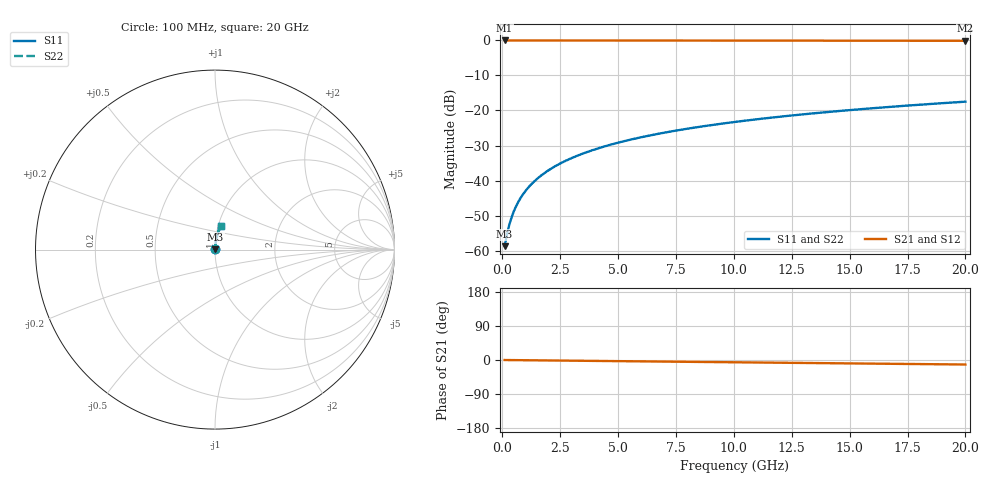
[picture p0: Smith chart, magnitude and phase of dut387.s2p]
! Touchstone file exported from HFSS 2026.1.0
!  File:  C:/ffzhzh/LocalFiles/Ansys_Project_Files/temp_train_TSV_387_1783019950_53980.aedt
!  Generated:  03:21:44 AM Jul  3, 2026
!  Design:  TSV
!  Project:  temp_train_TSV_387_1783019950_53980
! Variables:
!  h_bsmrdl = 2um
!  h_ox = 20um
!  h_rdl = 5um
!  h_sub = 87.68um
!  h_tmrdl = 5um
!  h_tsv = 87.68um
!  h_via = 3um
!  l_bsmrdl = 300um
!  l_sub = 406.72um
!  l_tmrdl = 200um
!  m_sub = 200um
!  pitch = 50.71um
!  r_tsv = 3.36um
!  s_tmrdl = 10um
!  w_bsmrdl = 18um
!  w_sub = 500um
!  w_tmrdl = 12um
!  x_tsv_center1 = 206um
!  x_tsv_center2 = 524um
!  x_tsv_center3 = 736um
!  x_tsv_center4 = 1054um
!  x_tsv_center5 = 1266um
!  x_tsv_center6 = 1584um
# GHz S MA R 50.000000
! Terminal data exported
! Port[1] = TSV1_1_T1
! Port[2] = TSV1_1_T2
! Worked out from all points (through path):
!   200 points, 100 MHz to 20 GHz, reference 50 ohm
!   highest |S21| = -0.01 dB at 100 MHz (marker M1); lowest = -0.1 dB at 20 GHz (marker M2)
!   group delay of S21, straight-line fit = 1.65 ps
!   lowest |S11| = -58.7 dB at 100 MHz (marker M3), VSWR 1.00, Z = 50.1 + j0.0712 ohm
!   |S11| at or under -10 dB: start of sweep to end of sweep
!   |S22| runs from -58.7 to -17.5 dB; largest |S21 - S12| = 3e-15
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0.1  0.001156 38.0  0.9991 -0.1  0.9991 -0.1  0.001156 38.0
! Gamma 0 0 0 0
! Port Impedance 50 0 50 0
0.2  0.001691 57.0  0.9991 -0.1  0.9991 -0.1  0.001691 57.0
0.3  0.002318 66.2  0.9991 -0.2  0.9991 -0.2  0.002318 66.2
0.4  0.002977 71.4  0.9991 -0.2  0.9991 -0.2  0.002977 71.4
0.5  0.00365 74.7  0.999 -0.3  0.999 -0.3  0.00365 74.7
0.6  0.00433 76.9  0.999 -0.4  0.999 -0.4  0.00433 76.9
0.8  0.005703 79.8  0.999 -0.5  0.999 -0.5  0.005703 79.8
1.1  0.007777 82.0  0.999 -0.7  0.999 -0.7  0.007777 82.0
1.5  0.01055 83.5  0.9989 -0.9  0.9989 -0.9  0.01055 83.5
1.8  0.01264 84.1  0.9989 -1.1  0.9989 -1.1  0.01264 84.1
2.1  0.01472 84.5  0.9988 -1.3  0.9988 -1.3  0.01472 84.5
2.7  0.01888 84.8  0.9987 -1.7  0.9987 -1.7  0.01888 84.8
3.5  0.02441 84.9  0.9984 -2.1  0.9984 -2.1  0.02441 84.9
4.2  0.02922 84.7  0.9982 -2.6  0.9982 -2.6  0.02922 84.7
5  0.03469 84.4  0.9979 -3.0  0.9979 -3.0  0.03469 84.4
5.9  0.04081 84.1  0.9975 -3.6  0.9975 -3.6  0.04081 84.1
6.8  0.0469 83.6  0.9971 -4.1  0.9971 -4.1  0.0469 83.6
8.3  0.05697 82.9  0.9963 -5.0  0.9963 -5.0  0.05697 82.9
10.1  0.06898 82.0  0.9953 -6.1  0.9953 -6.1  0.06898 82.0
13.4  0.09077 80.3  0.9932 -8.0  0.9932 -8.0  0.09077 80.3
16.7  0.1123 78.5  0.9907 -10.0  0.9907 -10.0  0.1123 78.5
20  0.1335 76.7  0.9878 -11.9  0.9878 -11.9  0.1335 76.7
